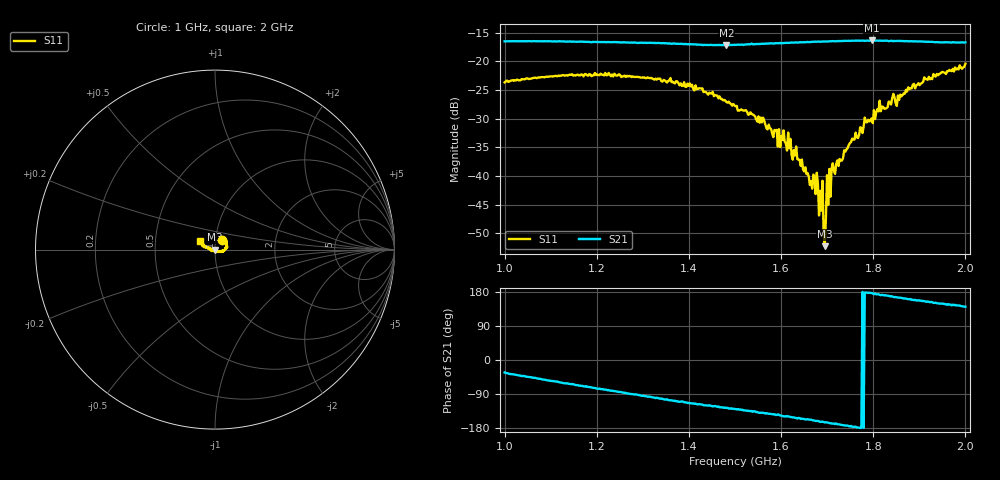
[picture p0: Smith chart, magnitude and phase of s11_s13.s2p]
# HZ S RI R 50
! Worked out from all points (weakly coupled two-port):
!   404 points, 1 GHz to 2 GHz, reference 50 ohm
!   highest |S21| = -16.37 dB at 1.797 GHz (marker M1); lowest = -17.2 dB at 1.481 GHz (marker M2)
!   lowest |S11| = -52.2 dB at 1.695 GHz (marker M3), VSWR 1.00, Z = 49.8 - j0.0839 ohm
!   |S11| at or under -10 dB: start of sweep to end of sweep
!   S12 and S22 are empty: the file has one direction only
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1e9  0.0406 0.0513  0.1253 -0.0811  0 0  0 0
1.168735e9  0.0564 0.0514  0.0553 -0.1377  0 0  0 0
1.334988e9  0.066 0.0247  -0.0276 -0.1415  0 0  0 0
1.401985e9  0.0636 0.00789  -0.0574 -0.1286  0 0  0 0
1.48139e9  0.0437 -0.00725  -0.0824 -0.1107  0 0  0 0
1.501241e9  0.0383 -0.0133  -0.088 -0.1074  0 0  0 0
1.610422e9  0.0157 -0.0112  -0.1242 -0.0742  0 0  0 0
1.667494e9  0.0024 -0.00738  -0.1374 -0.0535  0 0  0 0
1.674938e9  0.000924 -0.00691  -0.1402 -0.0484  0 0  0 0
1.677419e9  -0.0035 -0.0101  -0.1398 -0.0484  0 0  0 0
1.684864e9  -0.00243 -0.00704  -0.1415 -0.0423  0 0  0 0
1.692308e9  -0.00232 -0.00231  -0.1427 -0.0417  0 0  0 0
1.694789e9  -0.0023 -0.000843  -0.1432 -0.0394  0 0  0 0
1.697271e9  -0.00392 -0.0018  -0.1433 -0.0398  0 0  0 0
1.704715e9  -0.0088 -0.00746  -0.1452 -0.0349  0 0  0 0
1.71464e9  -0.0102 -0.00457  -0.1462 -0.0319  0 0  0 0
1.784119e9  -0.0289 0.00626  -0.151 0.00545  0 0  0 0
1.796526e9  -0.0314 0.00521  -0.1515 0.00895  0 0  0 0
1.813896e9  -0.0436 0.0126  -0.1497 0.021  0 0  0 0
1.833747e9  -0.0436 0.00928  -0.1471 0.0278  0 0  0 0
1.915633e9  -0.0646 0.0264  -0.1322 0.0667  0 0  0 0
2e9  -0.0837 0.0453  -0.1127 0.0931  0 0  0 0
